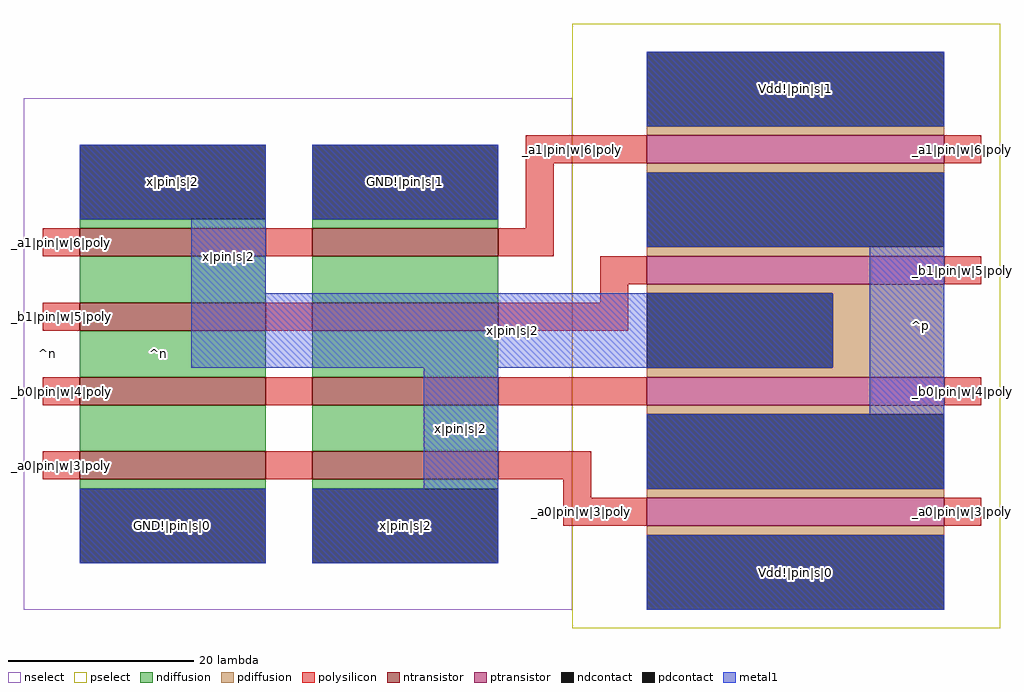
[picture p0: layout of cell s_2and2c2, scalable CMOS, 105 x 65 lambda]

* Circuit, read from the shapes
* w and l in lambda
.subckt s_2and2c2 GND!|pin|s|0 GND!|pin|s|1 Vdd!|pin|s|0 Vdd!|pin|s|1 _a0|pin|w|3|poly _a1|pin|w|6|poly _b0|pin|w|4|poly _b1|pin|w|5|poly x|pin|s|2
M1 n1 _a0|pin|w|3|poly GND!|pin|s|0 VSUBS nfet w=20 l=3
M2 n2 _b0|pin|w|4|poly n1 VSUBS nfet w=20 l=3
M3 n3 _b1|pin|w|5|poly n2 VSUBS nfet w=20 l=3
M4 x|pin|s|2 _a1|pin|w|6|poly n3 VSUBS nfet w=20 l=3
M5 n4 _a0|pin|w|3|poly x|pin|s|2 VSUBS nfet w=20 l=3
M6 n5 _b0|pin|w|4|poly n4 VSUBS nfet w=20 l=3
M7 n6 _b1|pin|w|5|poly n5 VSUBS nfet w=20 l=3
M8 GND!|pin|s|1 _a1|pin|w|6|poly n6 VSUBS nfet w=20 l=3
M9 n7 _a0|pin|w|3|poly Vdd!|pin|s|0 NWELL pfet w=32 l=3
M10 x|pin|s|2 _b0|pin|w|4|poly n7 NWELL pfet w=32 l=3
M11 n7 _b1|pin|w|5|poly x|pin|s|2 NWELL pfet w=32 l=3
M12 Vdd!|pin|s|1 _a1|pin|w|6|poly n7 NWELL pfet w=32 l=3
.ends

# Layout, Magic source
magic
tech scmos
<< nselect >>
rect -59 91 0 146
<< pselect >>
rect 0 89 46 154
<< ndiffusion >>
rect -53 132 -33 133
rect -28 132 -8 133
rect -53 124 -33 129
rect -28 124 -8 129
rect -53 116 -33 121
rect -28 116 -8 121
rect -53 108 -33 113
rect -28 108 -8 113
rect -53 104 -33 105
rect -28 104 -8 105
<< pdiffusion >>
rect 8 142 40 143
rect 8 138 40 139
rect 8 129 40 130
rect 8 125 40 126
rect 28 117 40 125
rect 8 116 40 117
rect 8 112 40 113
rect 8 103 40 104
rect 8 99 40 100
<< ntransistor >>
rect -53 129 -33 132
rect -28 129 -8 132
rect -53 121 -33 124
rect -28 121 -8 124
rect -53 113 -33 116
rect -28 113 -8 116
rect -53 105 -33 108
rect -28 105 -8 108
<< ptransistor >>
rect 8 139 40 142
rect 8 126 40 129
rect 8 113 40 116
rect 8 100 40 103
<< polysilicon >>
rect -5 139 8 142
rect 40 139 44 142
rect -5 132 -2 139
rect -57 129 -53 132
rect -33 129 -28 132
rect -8 129 -2 132
rect 3 126 8 129
rect 40 126 44 129
rect 3 124 6 126
rect -57 121 -53 124
rect -33 121 -28 124
rect -8 121 6 124
rect -57 113 -53 116
rect -33 113 -28 116
rect -8 113 8 116
rect 40 113 44 116
rect -57 105 -53 108
rect -33 105 -28 108
rect -8 105 2 108
rect -1 103 2 105
rect -1 100 8 103
rect 40 100 44 103
<< ndcontact >>
rect -53 133 -33 141
rect -28 133 -8 141
rect -53 96 -33 104
rect -28 96 -8 104
<< pdcontact >>
rect 8 143 40 151
rect 8 130 40 138
rect 8 117 28 125
rect 8 104 40 112
rect 8 91 40 99
<< metal1 >>
rect 8 143 40 151
rect -53 133 -33 141
rect -28 133 -8 141
rect -41 125 -33 133
rect 8 130 40 138
rect -41 117 28 125
rect -16 104 -8 117
rect 32 112 40 130
rect 8 104 40 112
rect -53 96 -33 104
rect -28 96 -8 104
rect 8 91 40 99
<< labels >>
rlabel space -61 91 -28 146 7 ^n
rlabel space -60 91 -53 146 7 ^n
rlabel space 28 89 47 154 3 ^p
rlabel metal1 -41 117 28 125 1 x|pin|s|2
rlabel metal1 -41 117 -33 141 1 x|pin|s|2
rlabel metal1 -53 133 -33 141 1 x|pin|s|2
rlabel metal1 -28 96 -8 104 1 x|pin|s|2
rlabel metal1 -16 96 -8 125 1 x|pin|s|2
rlabel polysilicon 40 100 44 103 1 _a0|pin|w|3|poly
rlabel polysilicon -1 100 3 103 1 _a0|pin|w|3|poly
rlabel polysilicon -57 105 -53 108 1 _a0|pin|w|3|poly
rlabel polysilicon -57 113 -53 116 1 _b0|pin|w|4|poly
rlabel polysilicon 40 113 44 116 1 _b0|pin|w|4|poly
rlabel polysilicon 40 126 44 129 1 _b1|pin|w|5|poly
rlabel polysilicon -57 121 -53 124 1 _b1|pin|w|5|poly
rlabel polysilicon -57 129 -53 132 1 _a1|pin|w|6|poly
rlabel polysilicon -2 139 2 142 1 _a1|pin|w|6|poly
rlabel polysilicon 40 139 44 142 1 _a1|pin|w|6|poly
rlabel metal1 8 143 40 151 1 Vdd!|pin|s|1
rlabel metal1 8 91 40 99 1 Vdd!|pin|s|0
rlabel metal1 -28 133 -8 141 1 GND!|pin|s|1
rlabel metal1 -53 96 -33 104 1 GND!|pin|s|0
<< end >>
